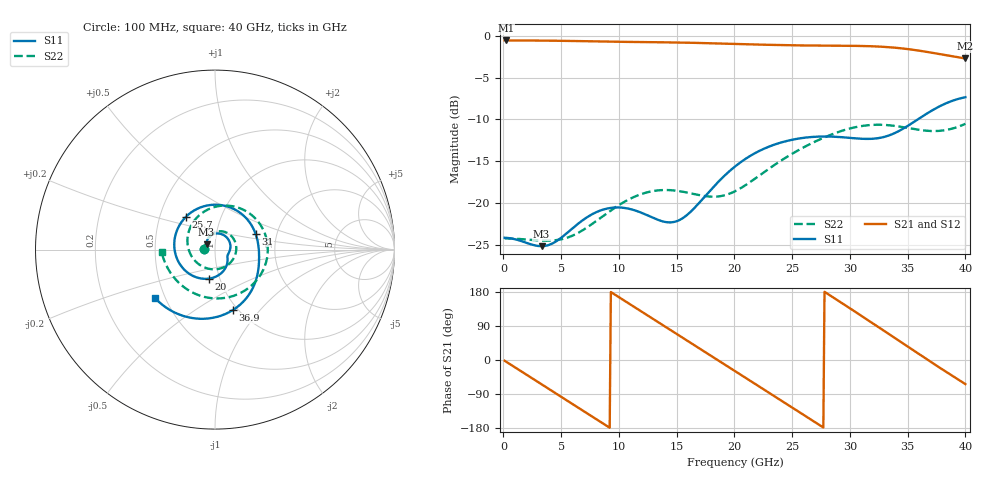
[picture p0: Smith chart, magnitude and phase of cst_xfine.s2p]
! B_s8_L1L3_bd_d200: L1→L3, back-drilled to 0.2 mm below L3, drill Ø0.2
! stackup: 8-layer 1.6 mm FR-4 (generic)
! ports: 1, 2
! CST Studio Suite 2025.5 Release from 2025-05-30, time domain (FIT, hexahedral, PBA), 791856 mesh cells, 99 s
! mesh: {'lpw': 40.0, 'lpb': 40.0, 'minstep': 0.0, 'ratio': 20}; ports: port 1 (face); port 2 (face)
! interpolated from CST's 1001 samples to the case grid
# Hz S RI R 50
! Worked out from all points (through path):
!   400 points, 100 MHz to 40 GHz, reference 50 ohm
!   highest |S21| = -0.56 dB at 200 MHz (marker M1); lowest = -2.7 dB at 40 GHz (marker M2)
!   group delay of S21, straight-line fit = 54.3 ps
!   lowest |S11| = -25.1 dB at 3.3 GHz (marker M3), VSWR 1.12, Z = 45.4 + j2.67 ohm
!   |S11| at or under -10 dB: start of sweep to 35.87 GHz
!   |S22| runs from -24.5 to -10.5 dB; largest |S21 - S12| = 0.0036
!   S11 on the Smith chart (normalised r, x): 100 MHz: 0.88, +0.00; 20 GHz: 0.89, -0.30; 25.7 GHz: 0.68, +0.26; 31 GHz: 1.55, +0.29; 36.9 GHz: 0.95, -0.73; 40 GHz: 0.44, -0.29
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1e8  -0.0621 0.00137  0.9373 -0.0318  0.9378 -0.0319  -0.0616 0.00122
2e8  -0.0621 0.00274  0.9357 -0.0636  0.9362 -0.0637  -0.0615 0.00245
3.3e9  -0.047 0.0293  0.4072 -0.8429  0.4068 -0.8428  -0.0494 0.0337
5e9  -0.0454 0.0424  -0.1185 -0.9258  -0.1183 -0.9254  -0.0416 0.0444
6.8e9  -0.031 0.0722  -0.6247 -0.6876  -0.6243 -0.6878  -0.0356 0.0585
8.4e9  0.0107 0.0898  -0.8856 -0.2663  -0.8858 -0.2667  -0.0244 0.078
9.9e9  0.058 0.0743  -0.9001 0.196  -0.9005 0.1961  0.000605 0.0965
1.18e10  0.0858 0.0214  -0.6015 0.693  -0.6011 0.6934  0.0538 0.0988
1.34e10  0.078 -0.0153  -0.1577 0.9014  -0.1573 0.901  0.0995 0.0658
1.52e10  0.0694 -0.038  0.3862 0.8256  0.3857 0.8252  0.118 -0.00565
1.71e10  0.0676 -0.078  0.8001 0.4244  0.7999 0.4249  0.0748 -0.0824
2e10  -0.0321 -0.1614  0.7864 -0.4257  0.7868 -0.4263  -0.0704 -0.0939
2.01e10  -0.0384 -0.1622  0.7711 -0.4518  0.7715 -0.4525  -0.0753 -0.0912
2.29e10  -0.2086 -0.0577  0.0822 -0.8795  0.0816 -0.879  -0.1536 0.0413
2.57e10  -0.1622 0.1825  -0.6616 -0.5744  -0.6606 -0.5747  -0.0882 0.1908
2.67e10  -0.0808 0.2351  -0.8138 -0.3201  -0.8136 -0.3212  -0.0347 0.2256
2.88e10  0.1119 0.2226  -0.8213 0.2946  -0.8225 0.2949  0.1104 0.2391
3.1e10  0.2258 0.0889  -0.3875 0.7782  -0.3863 0.7792  0.2567 0.1326
3.34e10  0.2453 -0.0669  0.322 0.7917  0.3217 0.7898  0.2741 -0.1009
3.52e10  0.2173 -0.1998  0.7095 0.4304  0.7074 0.4311  0.1356 -0.2449
3.69e10  0.1006 -0.3363  0.7952 -0.0412  0.7963 -0.0389  -0.0606 -0.2633
4e10  -0.334 -0.2702  0.3257 -0.6556  0.3244 -0.6589  -0.2976 -0.0137
